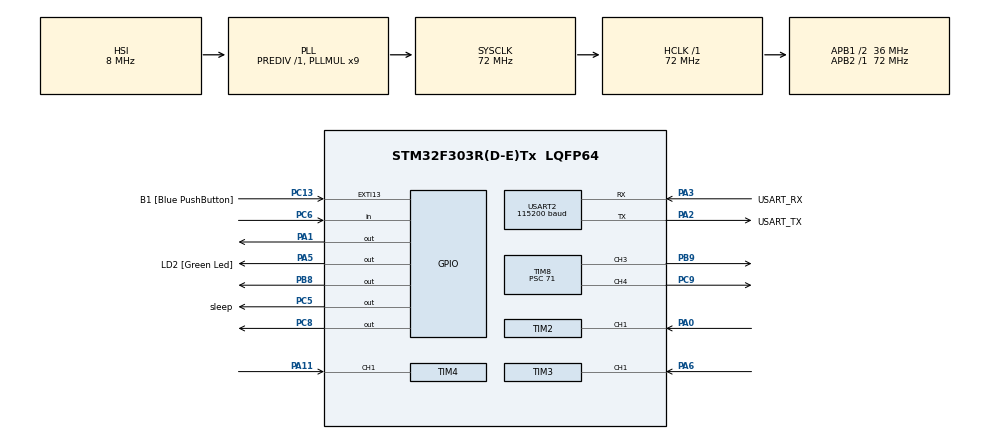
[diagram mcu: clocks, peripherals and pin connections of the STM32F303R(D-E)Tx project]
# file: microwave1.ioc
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Mcu.Family=STM32F3
Mcu.Name=STM32F303R(D-E)Tx
Mcu.Package=LQFP64
NVIC.PriorityGroup=NVIC_PRIORITYGROUP_0
NVIC.TIM1_UP_TIM16_IRQn=true\:0\:0\:false\:false\:true\:true\:true
NVIC.TIM2_IRQn=true\:0\:0\:false\:false\:true\:true\:true
NVIC.TIM3_IRQn=true\:0\:0\:false\:false\:true\:true\:true
NVIC.TIM4_IRQn=true\:0\:0\:false\:false\:true\:true\:true
NVIC.USART2_IRQn=true\:0\:0\:false\:false\:true\:true\:true
PA0.Signal=S_TIM2_CH1_ETR
PA1.Signal=GPIO_Output
PA11.Signal=S_TIM4_CH1
PA13.GPIO_Label=TMS
PA13.Mode=Serial_Wire
PA13.Signal=SYS_JTMS-SWDIO
PA14.GPIO_Label=TCK
PA14.Mode=Serial_Wire
PA14.Signal=SYS_JTCK-SWCLK
PA2.GPIO_Label=USART_TX
PA2.GPIO_Mode=GPIO_MODE_AF_PP
PA2.GPIO_PuPd=GPIO_NOPULL
PA2.GPIO_Speed=GPIO_SPEED_FREQ_LOW
PA2.Mode=Asynchronous
PA2.Signal=USART2_TX
PA3.GPIO_Label=USART_RX
PA3.GPIO_Mode=GPIO_MODE_AF_PP
PA3.GPIO_PuPd=GPIO_NOPULL
PA3.GPIO_Speed=GPIO_SPEED_FREQ_LOW
PA3.Mode=Asynchronous
PA3.Signal=USART2_RX
PA5.GPIO_Label=LD2 [Green Led]
PA5.GPIO_Mode=GPIO_MODE_OUTPUT_PP
PA5.GPIO_PuPd=GPIO_NOPULL
PA5.GPIO_Speed=GPIO_SPEED_FREQ_LOW
PA5.Signal=GPIO_Output
PA6.Signal=S_TIM3_CH1
PB3.GPIO_Label=SWO
PB3.Signal=SYS_JTDO-TRACESWO
PB8.PinState=GPIO_PIN_RESET
PB8.Signal=GPIO_Output
PB9.Signal=S_TIM8_CH3
PC13.GPIO_Label=B1 [Blue PushButton]
PC13.GPIO_ModeDefaultEXTI=GPIO_MODE_IT_FALLING
PC13.Signal=GPXTI13
PC14-OSC32_IN.Mode=LSE-External-Oscillator
PC14-OSC32_IN.Signal=RCC_OSC32_IN
PC15-OSC32_OUT.Mode=LSE-External-Oscillator
PC15-OSC32_OUT.Signal=RCC_OSC32_OUT
PC5.GPIO_Label=sleep
PC5.PinState=GPIO_PIN_SET
PC5.Signal=GPIO_Output
PC6.Signal=GPIO_Input
PC8.PinState=GPIO_PIN_RESET
PC8.Signal=GPIO_Output
PC9.Signal=S_TIM8_CH4
PF0-OSC_IN.Mode=HSE-External-Clock-Source
PF0-OSC_IN.Signal=RCC_OSC_IN
PF1-OSC_OUT.Signal=RCC_OSC_OUT
ProjectManager.HeapSize=0x200
ProjectManager.StackSize=0x400
ProjectManager.TargetToolchain=TrueSTUDIO
RCC.AHBFreq_Value=72000000
RCC.APB1CLKDivider=RCC_HCLK_DIV2
RCC.APB1Freq_Value=36000000
RCC.APB1TimFreq_Value=72000000
RCC.APB2Freq_Value=72000000
RCC.APB2TimFreq_Value=72000000
RCC.CortexFreq_Value=72000000
RCC.HCLKFreq_Value=72000000
RCC.HSE_VALUE=8000000
RCC.HSI_VALUE=8000000
RCC.PLLM=8
RCC.PLLMUL=RCC_PLL_MUL9
RCC.PLLN=336
RCC.PLLP=RCC_PLLP_DIV4
RCC.PLLQ=7
RCC.RCC_PLLsource_Clock_Source_FROM_HSE=RCC_HSE_PREDIV_DIV2
RCC.SYSCLKFreq_VALUE=72000000
RCC.SYSCLKSourceVirtual=RCC_SYSCLKSOURCE_PLLCLK
RCC.USBFreq_Value=72000000
SH.S_TIM2_CH1_ETR.0=TIM2_CH1,Input_Capture1_from_TI1
SH.S_TIM3_CH1.0=TIM3_CH1,Input_Capture1_from_TI1
SH.S_TIM4_CH1.0=TIM4_CH1,Input_Capture1_from_TI1
SH.S_TIM8_CH3.0=TIM8_CH3,PWM Generation3 CH3
SH.S_TIM8_CH4.0=TIM8_CH4,PWM Generation4 CH4
TIM1.Period=10
TIM1.Prescaler=71
TIM2.Channel-Input_Capture1_from_TI1=TIM_CHANNEL_1
TIM2.ICPolarity_CH1=TIM_INPUTCHANNELPOLARITY_BOTHEDGE
TIM2.Period=0xffffffff
TIM2.Prescaler=71
TIM3.Channel-Input_Capture1_from_TI1=TIM_CHANNEL_1
TIM3.ICPolarity_CH1=TIM_INPUTCHANNELPOLARITY_BOTHEDGE
TIM3.Period=0xffff
TIM3.Prescaler=71
TIM4.Channel-Input_Capture1_from_TI1=TIM_CHANNEL_1
TIM4.ICPolarity_CH1=TIM_INPUTCHANNELPOLARITY_BOTHEDGE
TIM4.Period=0xffff
TIM4.Prescaler=71
TIM8.Channel-PWM\ Generation3\ CH3=TIM_CHANNEL_3
TIM8.Channel-PWM\ Generation4\ CH4=TIM_CHANNEL_4
TIM8.Period=10
TIM8.Prescaler=71
USART2.BaudRate=115200
USART2.VirtualMode-Asynchronous=VM_ASYNC
VP_TIM1_VS_ClockSourceINT.Mode=Internal
board=NUCLEO-F303RE

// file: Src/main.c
/* USER CODE BEGIN Header */
/**
  ******************************************************************************
  * @file           : main.c
  * @brief          : Main program body
  ******************************************************************************
  * @attention
  *
  * <h2><center>&copy; Copyright (c) 2019 STMicroelectronics.
  * All rights reserved.</center></h2>
  *
  * This software component is licensed by ST under BSD 3-Clause license,
  * the "License"; You may not use this file except in compliance with the
  * License. You may obtain a copy of the License at:
  *                        opensource.org/licenses/BSD-3-Clause
  *
  ******************************************************************************
  */
/* USER CODE END Header */

#include "main.h"

TIM_HandleTypeDef htim1;
TIM_HandleTypeDef htim2;
TIM_HandleTypeDef htim3;
TIM_HandleTypeDef htim4;
TIM_HandleTypeDef htim8;

UART_HandleTypeDef huart2;

void SystemClock_Config(void);
static void MX_GPIO_Init(void);
static void MX_TIM1_Init(void);
static void MX_TIM2_Init(void);
static void MX_USART2_UART_Init(void);
static void MX_TIM8_Init(void);
static void MX_TIM3_Init(void);
static void MX_TIM4_Init(void);

/* USER CODE BEGIN 0 */
void HAL_TIM_IC_CaptureCallback(TIM_HandleTypeDef* htim){
	if(htim->Instance==TIM2){
		if(HAL_GPIO_ReadPin(GPIOA,GPIO_PIN_0)==1){
			__HAL_TIM_SET_COUNTER(&htim2,0);
			__HAL_TIM_SET_COUNTER(&htim3,0);
			__HAL_TIM_SET_COUNTER(&htim4,0);
		}
		else{
			int FrontCnt = __HAL_TIM_GET_COUNTER(&htim2);
			double FrontDistance = FrontCnt/(double)58;
			int FrontInteger = (int)FrontDistance;
			int FrontPoint = (int)((FrontDistance-FrontInteger)*100);

			int LeftCnt = __HAL_TIM_GET_COUNTER(&htim3);//PA6
			double LeftDistance = LeftCnt/(double)58;
			int LeftInteger = (int)LeftDistance;
			int LeftPoint = (int)((LeftDistance-LeftInteger)*100);

			int RightCnt = __HAL_TIM_GET_COUNTER(&htim4);//PA11
			double RightDistance = RightCnt/(double)58;
			int RightInteger = (int)RightDistance;
			int Rightpoint = (int)((RightDistance-RightInteger)*100);

			char tosend[20] = {0};
			if (FrontInteger  < 400){
				sprintf(tosend,"%d.%02d\r\n",FrontInteger ,FrontPoint);
				if(FrontInteger <20){
					HAL_GPIO_WritePin(GPIOB, GPIO_PIN_8, GPIO_PIN_SET);
					HAL_GPIO_WritePin(GPIOC, GPIO_PIN_8, GPIO_PIN_SET);
					TIM8->CCR3 = 1;//left PB9
					TIM8->CCR4 = 1;//right PC9

				}
				else if(FrontInteger <30){
					if (RightInteger>LeftInteger){
						HAL_GPIO_WritePin(GPIOB, GPIO_PIN_8, GPIO_PIN_RESET);

						HAL_GPIO_WritePin(GPIOC, GPIO_PIN_8, GPIO_PIN_SET);
						TIM8->CCR3 = 8;//left
						TIM8->CCR4 = 2;//right

					}else{
						HAL_GPIO_WritePin(GPIOC, GPIO_PIN_8, GPIO_PIN_RESET);

						HAL_GPIO_WritePin(GPIOB, GPIO_PIN_8, GPIO_PIN_SET);
						TIM8->CCR3 = 2;//left
						TIM8->CCR4 = 8;//right

					}

				}else if (FrontInteger <40){
					HAL_GPIO_WritePin(GPIOB, GPIO_PIN_8, GPIO_PIN_RESET);
					HAL_GPIO_WritePin(GPIOC, GPIO_PIN_8, GPIO_PIN_RESET);

					TIM8->CCR3 = 8;
					TIM8->CCR4 = 8;
				}else if (FrontInteger <50){
					HAL_GPIO_WritePin(GPIOB, GPIO_PIN_8, GPIO_PIN_RESET);
					HAL_GPIO_WritePin(GPIOC, GPIO_PIN_8, GPIO_PIN_RESET);

					TIM8->CCR3 = 9;
					TIM8->CCR4 = 9;
				}
				else{
					HAL_GPIO_WritePin(GPIOB, GPIO_PIN_8, GPIO_PIN_RESET);
					HAL_GPIO_WritePin(GPIOC, GPIO_PIN_8, GPIO_PIN_RESET);

					TIM8->CCR3 = 10;
					TIM8->CCR4 = 10;
				}
			}
			HAL_UART_Transmit(&huart2,tosend,sizeof(tosend),0xffff);
			HAL_TIM_Base_Start_IT(&htim1);
		}
	}
}
int tim1Count = 7000;
void HAL_TIM_PeriodElapsedCallback(TIM_HandleTypeDef* htim){
	if(htim->Instance==TIM1){
		if(tim1Count<7000){
			tim1Count++;
		}
		else{
			HAL_TIM_Base_Stop_IT(&htim1);
			if(HAL_GPIO_ReadPin(GPIOA,GPIO_PIN_1)==0){
				HAL_GPIO_WritePin(GPIOA,GPIO_PIN_1,1);
				HAL_TIM_Base_Start_IT(&htim1);
			}
			else{

				tim1Count=0;
				HAL_GPIO_WritePin(GPIOA,GPIO_PIN_1,0);

			}
		}
	}
}
/* USER CODE END 0 */

int main(void)
{

  /* MCU Configuration--------------------------------------------------------*/

  /* Reset of all peripherals, Initializes the Flash interface and the Systick. */
  HAL_Init();

  /* Configure the system clock */
  SystemClock_Config();

  /* Initialize all configured peripherals */
  MX_GPIO_Init();
  MX_TIM1_Init();
  MX_TIM2_Init();
  MX_USART2_UART_Init();
  MX_TIM8_Init();
  MX_TIM3_Init();
  MX_TIM4_Init();
  /* USER CODE BEGIN 2 */
  HAL_TIM_PWM_Start(&htim8,TIM_CHANNEL_4);
    TIM8->CCR4 = 10;
  HAL_TIM_PWM_Start(&htim8,TIM_CHANNEL_3);
    TIM8->CCR3 = 10;
  HAL_TIM_IC_Start_IT(&htim2,TIM_CHANNEL_1);
  HAL_TIM_IC_Start_IT(&htim3,TIM_CHANNEL_1);
  HAL_TIM_IC_Start_IT(&htim4,TIM_CHANNEL_1);
  HAL_TIM_Base_Start_IT(&htim1);

  /* USER CODE END 2 */

  /* Infinite loop */
  while (1)
  {

    /* USER CODE BEGIN 3 */
//	  char buf[20] = "";
//	  sprintf(buf,"Hello!");
//	  HAL_UART_Transmit(&huart2,buf,sizeof(buf),0xffff);
//	  HAL_Delay(10);

  }
  /* USER CODE END 3 */
}

void SystemClock_Config(void)
{
  RCC_OscInitTypeDef RCC_OscInitStruct = {0};
  RCC_ClkInitTypeDef RCC_ClkInitStruct = {0};
  RCC_PeriphCLKInitTypeDef PeriphClkInit = {0};

  /** Initializes the CPU, AHB and APB busses clocks
  */
  RCC_OscInitStruct.OscillatorType = RCC_OSCILLATORTYPE_HSI;
  RCC_OscInitStruct.HSIState = RCC_HSI_ON;
  RCC_OscInitStruct.HSICalibrationValue = RCC_HSICALIBRATION_DEFAULT;
  RCC_OscInitStruct.PLL.PLLState = RCC_PLL_ON;
  RCC_OscInitStruct.PLL.PLLSource = RCC_PLLSOURCE_HSI;
  RCC_OscInitStruct.PLL.PLLMUL = RCC_PLL_MUL9;
  RCC_OscInitStruct.PLL.PREDIV = RCC_PREDIV_DIV1;
  if (HAL_RCC_OscConfig(&RCC_OscInitStruct) != HAL_OK)
  {
    Error_Handler();
  }
  /** Initializes the CPU, AHB and APB busses clocks
  */
  RCC_ClkInitStruct.ClockType = RCC_CLOCKTYPE_HCLK|RCC_CLOCKTYPE_SYSCLK
                              |RCC_CLOCKTYPE_PCLK1|RCC_CLOCKTYPE_PCLK2;
  RCC_ClkInitStruct.SYSCLKSource = RCC_SYSCLKSOURCE_PLLCLK;
  RCC_ClkInitStruct.AHBCLKDivider = RCC_SYSCLK_DIV1;
  RCC_ClkInitStruct.APB1CLKDivider = RCC_HCLK_DIV2;
  RCC_ClkInitStruct.APB2CLKDivider = RCC_HCLK_DIV1;

  if (HAL_RCC_ClockConfig(&RCC_ClkInitStruct, FLASH_LATENCY_2) != HAL_OK)
  {
    Error_Handler();
  }
  PeriphClkInit.PeriphClockSelection = RCC_PERIPHCLK_USART2|RCC_PERIPHCLK_TIM1
                              |RCC_PERIPHCLK_TIM8|RCC_PERIPHCLK_TIM2
                              |RCC_PERIPHCLK_TIM34;
  PeriphClkInit.Usart2ClockSelection = RCC_USART2CLKSOURCE_PCLK1;
  PeriphClkInit.Tim1ClockSelection = RCC_TIM1CLK_HCLK;
  PeriphClkInit.Tim8ClockSelection = RCC_TIM8CLK_HCLK;
  PeriphClkInit.Tim2ClockSelection = RCC_TIM2CLK_HCLK;
  PeriphClkInit.Tim34ClockSelection = RCC_TIM34CLK_HCLK;
  if (HAL_RCCEx_PeriphCLKConfig(&PeriphClkInit) != HAL_OK)
  {
    Error_Handler();
  }
}

static void MX_TIM1_Init(void)
{

  TIM_ClockConfigTypeDef sClockSourceConfig = {0};
  TIM_MasterConfigTypeDef sMasterConfig = {0};

  htim1.Instance = TIM1;
  htim1.Init.Prescaler = 71;
  htim1.Init.CounterMode = TIM_COUNTERMODE_UP;
  htim1.Init.Period = 10;
  htim1.Init.ClockDivision = TIM_CLOCKDIVISION_DIV1;
  htim1.Init.RepetitionCounter = 0;
  htim1.Init.AutoReloadPreload = TIM_AUTORELOAD_PRELOAD_DISABLE;
  if (HAL_TIM_Base_Init(&htim1) != HAL_OK)
  {
    Error_Handler();
  }
  sClockSourceConfig.ClockSource = TIM_CLOCKSOURCE_INTERNAL;
  if (HAL_TIM_ConfigClockSource(&htim1, &sClockSourceConfig) != HAL_OK)
  {
    Error_Handler();
  }
  sMasterConfig.MasterOutputTrigger = TIM_TRGO_RESET;
  sMasterConfig.MasterOutputTrigger2 = TIM_TRGO2_RESET;
  sMasterConfig.MasterSlaveMode = TIM_MASTERSLAVEMODE_DISABLE;
  if (HAL_TIMEx_MasterConfigSynchronization(&htim1, &sMasterConfig) != HAL_OK)
  {
    Error_Handler();
  }

}

static void MX_TIM2_Init(void)
{

  TIM_MasterConfigTypeDef sMasterConfig = {0};
  TIM_IC_InitTypeDef sConfigIC = {0};

  htim2.Instance = TIM2;
  htim2.Init.Prescaler = 71;
  htim2.Init.CounterMode = TIM_COUNTERMODE_UP;
  htim2.Init.Period = 0xffffffff;
  htim2.Init.ClockDivision = TIM_CLOCKDIVISION_DIV1;
  htim2.Init.AutoReloadPreload = TIM_AUTORELOAD_PRELOAD_DISABLE;
  if (HAL_TIM_IC_Init(&htim2) != HAL_OK)
  {
    Error_Handler();
  }
  sMasterConfig.MasterOutputTrigger = TIM_TRGO_RESET;
  sMasterConfig.MasterSlaveMode = TIM_MASTERSLAVEMODE_DISABLE;
  if (HAL_TIMEx_MasterConfigSynchronization(&htim2, &sMasterConfig) != HAL_OK)
  {
    Error_Handler();
  }
  sConfigIC.ICPolarity = TIM_INPUTCHANNELPOLARITY_BOTHEDGE;
  sConfigIC.ICSelection = TIM_ICSELECTION_DIRECTTI;
  sConfigIC.ICPrescaler = TIM_ICPSC_DIV1;
  sConfigIC.ICFilter = 0;
  if (HAL_TIM_IC_ConfigChannel(&htim2, &sConfigIC, TIM_CHANNEL_1) != HAL_OK)
  {
    Error_Handler();
  }

}

static void MX_TIM3_Init(void)
{

  TIM_MasterConfigTypeDef sMasterConfig = {0};
  TIM_IC_InitTypeDef sConfigIC = {0};

  htim3.Instance = TIM3;
  htim3.Init.Prescaler = 71;
  htim3.Init.CounterMode = TIM_COUNTERMODE_UP;
  htim3.Init.Period = 0xffff;
  htim3.Init.ClockDivision = TIM_CLOCKDIVISION_DIV1;
  htim3.Init.AutoReloadPreload = TIM_AUTORELOAD_PRELOAD_DISABLE;
  if (HAL_TIM_IC_Init(&htim3) != HAL_OK)
  {
    Error_Handler();
  }
  sMasterConfig.MasterOutputTrigger = TIM_TRGO_RESET;
  sMasterConfig.MasterSlaveMode = TIM_MASTERSLAVEMODE_DISABLE;
  if (HAL_TIMEx_MasterConfigSynchronization(&htim3, &sMasterConfig) != HAL_OK)
  {
    Error_Handler();
  }
  sConfigIC.ICPolarity = TIM_INPUTCHANNELPOLARITY_BOTHEDGE;
  sConfigIC.ICSelection = TIM_ICSELECTION_DIRECTTI;
  sConfigIC.ICPrescaler = TIM_ICPSC_DIV1;
  sConfigIC.ICFilter = 0;
  if (HAL_TIM_IC_ConfigChannel(&htim3, &sConfigIC, TIM_CHANNEL_1) != HAL_OK)
  {
    Error_Handler();
  }

}

static void MX_TIM4_Init(void)
{

  TIM_MasterConfigTypeDef sMasterConfig = {0};
  TIM_IC_InitTypeDef sConfigIC = {0};

  htim4.Instance = TIM4;
  htim4.Init.Prescaler = 71;
  htim4.Init.CounterMode = TIM_COUNTERMODE_UP;
  htim4.Init.Period = 0xffff;
  htim4.Init.ClockDivision = TIM_CLOCKDIVISION_DIV1;
  htim4.Init.AutoReloadPreload = TIM_AUTORELOAD_PRELOAD_DISABLE;
  if (HAL_TIM_IC_Init(&htim4) != HAL_OK)
  {
    Error_Handler();
  }
  sMasterConfig.MasterOutputTrigger = TIM_TRGO_RESET;
  sMasterConfig.MasterSlaveMode = TIM_MASTERSLAVEMODE_DISABLE;
  if (HAL_TIMEx_MasterConfigSynchronization(&htim4, &sMasterConfig) != HAL_OK)
  {
    Error_Handler();
  }
  sConfigIC.ICPolarity = TIM_INPUTCHANNELPOLARITY_BOTHEDGE;
  sConfigIC.ICSelection = TIM_ICSELECTION_DIRECTTI;
  sConfigIC.ICPrescaler = TIM_ICPSC_DIV1;
  sConfigIC.ICFilter = 0;
  if (HAL_TIM_IC_ConfigChannel(&htim4, &sConfigIC, TIM_CHANNEL_1) != HAL_OK)
  {
    Error_Handler();
  }

}

static void MX_TIM8_Init(void)
{

  TIM_MasterConfigTypeDef sMasterConfig = {0};
  TIM_OC_InitTypeDef sConfigOC = {0};
  TIM_BreakDeadTimeConfigTypeDef sBreakDeadTimeConfig = {0};

  htim8.Instance = TIM8;
  htim8.Init.Prescaler = 71;
  htim8.Init.CounterMode = TIM_COUNTERMODE_UP;
  htim8.Init.Period = 10;
  htim8.Init.ClockDivision = TIM_CLOCKDIVISION_DIV1;
  htim8.Init.RepetitionCounter = 0;
  htim8.Init.AutoReloadPreload = TIM_AUTORELOAD_PRELOAD_DISABLE;
  if (HAL_TIM_PWM_Init(&htim8) != HAL_OK)
  {
    Error_Handler();
  }
  sMasterConfig.MasterOutputTrigger = TIM_TRGO_RESET;
  sMasterConfig.MasterOutputTrigger2 = TIM_TRGO2_RESET;
  sMasterConfig.MasterSlaveMode = TIM_MASTERSLAVEMODE_DISABLE;
  if (HAL_TIMEx_MasterConfigSynchronization(&htim8, &sMasterConfig) != HAL_OK)
  {
    Error_Handler();
  }
  sConfigOC.OCMode = TIM_OCMODE_PWM1;
  sConfigOC.Pulse = 0;
  sConfigOC.OCPolarity = TIM_OCPOLARITY_HIGH;
  sConfigOC.OCNPolarity = TIM_OCNPOLARITY_HIGH;
  sConfigOC.OCFastMode = TIM_OCFAST_DISABLE;
  sConfigOC.OCIdleState = TIM_OCIDLESTATE_RESET;
  sConfigOC.OCNIdleState = TIM_OCNIDLESTATE_RESET;
  if (HAL_TIM_PWM_ConfigChannel(&htim8, &sConfigOC, TIM_CHANNEL_3) != HAL_OK)
  {
    Error_Handler();
  }
  if (HAL_TIM_PWM_ConfigChannel(&htim8, &sConfigOC, TIM_CHANNEL_4) != HAL_OK)
  {
    Error_Handler();
  }
  sBreakDeadTimeConfig.OffStateRunMode = TIM_OSSR_DISABLE;
  sBreakDeadTimeConfig.OffStateIDLEMode = TIM_OSSI_DISABLE;
  sBreakDeadTimeConfig.LockLevel = TIM_LOCKLEVEL_OFF;
  sBreakDeadTimeConfig.DeadTime = 0;
  sBreakDeadTimeConfig.BreakState = TIM_BREAK_DISABLE;
  sBreakDeadTimeConfig.BreakPolarity = TIM_BREAKPOLARITY_HIGH;
  sBreakDeadTimeConfig.BreakFilter = 0;
  sBreakDeadTimeConfig.Break2State = TIM_BREAK2_DISABLE;
  sBreakDeadTimeConfig.Break2Polarity = TIM_BREAK2POLARITY_HIGH;
  sBreakDeadTimeConfig.Break2Filter = 0;
  sBreakDeadTimeConfig.AutomaticOutput = TIM_AUTOMATICOUTPUT_DISABLE;
  if (HAL_TIMEx_ConfigBreakDeadTime(&htim8, &sBreakDeadTimeConfig) != HAL_OK)
  {
    Error_Handler();
  }
  HAL_TIM_MspPostInit(&htim8);

}

static void MX_USART2_UART_Init(void)
{

  huart2.Instance = USART2;
  huart2.Init.BaudRate = 115200;
  huart2.Init.WordLength = UART_WORDLENGTH_8B;
  huart2.Init.StopBits = UART_STOPBITS_1;
  huart2.Init.Parity = UART_PARITY_NONE;
  huart2.Init.Mode = UART_MODE_TX_RX;
  huart2.Init.HwFlowCtl = UART_HWCONTROL_NONE;
  huart2.Init.OverSampling = UART_OVERSAMPLING_16;
  huart2.Init.OneBitSampling = UART_ONE_BIT_SAMPLE_DISABLE;
  huart2.AdvancedInit.AdvFeatureInit = UART_ADVFEATURE_NO_INIT;
  if (HAL_UART_Init(&huart2) != HAL_OK)
  {
    Error_Handler();
  }

}

static void MX_GPIO_Init(void)
{
  GPIO_InitTypeDef GPIO_InitStruct = {0};

  /* GPIO Ports Clock Enable */
  __HAL_RCC_GPIOC_CLK_ENABLE();
  __HAL_RCC_GPIOF_CLK_ENABLE();
  __HAL_RCC_GPIOA_CLK_ENABLE();
  __HAL_RCC_GPIOB_CLK_ENABLE();

  /*Configure GPIO pin Output Level */
  HAL_GPIO_WritePin(GPIOA, GPIO_PIN_1|LD2_Pin, GPIO_PIN_RESET);

  /*Configure GPIO pin Output Level */
  HAL_GPIO_WritePin(sleep_GPIO_Port, sleep_Pin, GPIO_PIN_SET);

  /*Configure GPIO pin Output Level */
  HAL_GPIO_WritePin(GPIOC, GPIO_PIN_8, GPIO_PIN_RESET);//with TIM8_CHANNEL_4 Right

  /*Configure GPIO pin Output Level */
  HAL_GPIO_WritePin(GPIOB, GPIO_PIN_8, GPIO_PIN_RESET);//with TIM8_CHANNEL_3 Left

  /*Configure GPIO pin : B1_Pin */
  GPIO_InitStruct.Pin = B1_Pin;
  GPIO_InitStruct.Mode = GPIO_MODE_IT_FALLING;
  GPIO_InitStruct.Pull = GPIO_NOPULL;
  HAL_GPIO_Init(B1_GPIO_Port, &GPIO_InitStruct);

  /*Configure GPIO pins : PA1 LD2_Pin */
  GPIO_InitStruct.Pin = GPIO_PIN_1|LD2_Pin;
  GPIO_InitStruct.Mode = GPIO_MODE_OUTPUT_PP;
  GPIO_InitStruct.Pull = GPIO_NOPULL;
  GPIO_InitStruct.Speed = GPIO_SPEED_FREQ_LOW;
  HAL_GPIO_Init(GPIOA, &GPIO_InitStruct);

  /*Configure GPIO pins : sleep_Pin PC8 */
  GPIO_InitStruct.Pin = sleep_Pin|GPIO_PIN_8;
  GPIO_InitStruct.Mode = GPIO_MODE_OUTPUT_PP;
  GPIO_InitStruct.Pull = GPIO_NOPULL;
  GPIO_InitStruct.Speed = GPIO_SPEED_FREQ_LOW;
  HAL_GPIO_Init(GPIOC, &GPIO_InitStruct);

  /*Configure GPIO pin : PC6 */
  GPIO_InitStruct.Pin = GPIO_PIN_6;
  GPIO_InitStruct.Mode = GPIO_MODE_INPUT;
  GPIO_InitStruct.Pull = GPIO_NOPULL;
  HAL_GPIO_Init(GPIOC, &GPIO_InitStruct);

  /*Configure GPIO pin : PB8 */
  GPIO_InitStruct.Pin = GPIO_PIN_8;
  GPIO_InitStruct.Mode = GPIO_MODE_OUTPUT_PP;
  GPIO_InitStruct.Pull = GPIO_NOPULL;
  GPIO_InitStruct.Speed = GPIO_SPEED_FREQ_LOW;
  HAL_GPIO_Init(GPIOB, &GPIO_InitStruct);

}

void Error_Handler(void)
{
}

/************************ (C) COPYRIGHT STMicroelectronics *****END OF FILE****/
